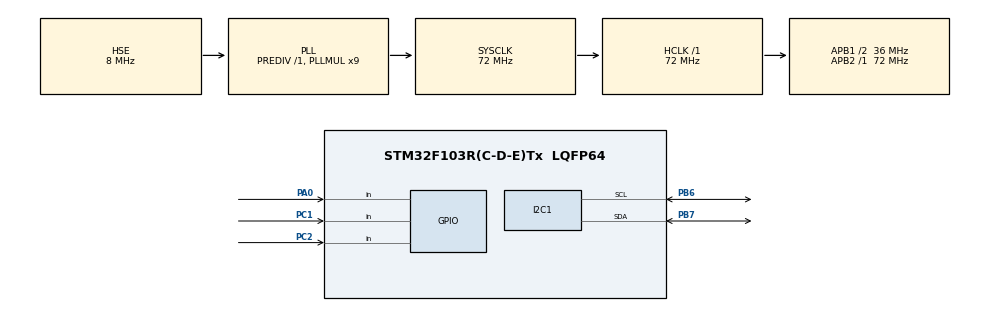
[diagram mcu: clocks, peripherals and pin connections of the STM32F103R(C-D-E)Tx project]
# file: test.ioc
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I2C1.I2C_Mode=I2C_Fast
Mcu.Family=STM32F1
Mcu.Name=STM32F103R(C-D-E)Tx
Mcu.Package=LQFP64
NVIC.PriorityGroup=NVIC_PRIORITYGROUP_4
PA0-WKUP.Signal=GPIO_Input
PA13.Mode=Serial_Wire
PA13.Signal=SYS_JTMS-SWDIO
PA14.Mode=Serial_Wire
PA14.Signal=SYS_JTCK-SWCLK
PB6.Mode=I2C
PB6.Signal=I2C1_SCL
PB7.Mode=I2C
PB7.Signal=I2C1_SDA
PC1.Signal=GPIO_Input
PC14-OSC32_IN.Mode=LSE-External-Oscillator
PC14-OSC32_IN.Signal=RCC_OSC32_IN
PC15-OSC32_OUT.Mode=LSE-External-Oscillator
PC15-OSC32_OUT.Signal=RCC_OSC32_OUT
PC2.Signal=GPIO_Input
PD0-OSC_IN.Mode=HSE-External-Oscillator
PD0-OSC_IN.Signal=RCC_OSC_IN
PD1-OSC_OUT.Mode=HSE-External-Oscillator
PD1-OSC_OUT.Signal=RCC_OSC_OUT
ProjectManager.HeapSize=0x200
ProjectManager.StackSize=0x400
ProjectManager.TargetToolchain=MDK-ARM V5.32
RCC.AHBFreq_Value=72000000
RCC.APB1CLKDivider=RCC_HCLK_DIV2
RCC.APB1Freq_Value=36000000
RCC.APB1TimFreq_Value=72000000
RCC.APB2Freq_Value=72000000
RCC.APB2TimFreq_Value=72000000
RCC.HCLKFreq_Value=72000000
RCC.PLLMUL=RCC_PLL_MUL9
RCC.PLLSourceVirtual=RCC_PLLSOURCE_HSE
RCC.SYSCLKFreq_VALUE=72000000
RCC.SYSCLKSource=RCC_SYSCLKSOURCE_PLLCLK
RCC.USBFreq_Value=72000000
VP_RTC_No_RTC_Output.Mode=RTC_OUT_NO
VP_RTC_VS_RTC_Activate.Mode=RTC_Enabled
board=custom

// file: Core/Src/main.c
/* USER CODE BEGIN Header */
/**
  ******************************************************************************
  * @file           : main.c
  * @brief          : Main program body
  ******************************************************************************
  * @attention
  *
  * Copyright (c) 2025 STMicroelectronics.
  * All rights reserved.
  *
  * This software is licensed under terms that can be found in the LICENSE file
  * in the root directory of this software component.
  * If no LICENSE file comes with this software, it is provided AS-IS.
  *
  ******************************************************************************
  */
/* USER CODE END Header */
#include "main.h"
#include "i2c.h"
#include "rtc.h"
#include "gpio.h"
/* USER CODE BEGIN Includes */
#include "oled.h"
#include "key.h"
/* USER CODE END Includes */

/* USER CODE BEGIN PV */
RTC_TimeTypeDef sTime;
RTC_DateTypeDef sDate;
/* USER CODE END PV */

void SystemClock_Config(void);

int main(void)
{
	int M=0;
  /* MCU Configuration--------------------------------------------------------*/
	uint8_t sethours=0;
	uint8_t setminutes=0;
	uint8_t setseconds=0;
  /* Reset of all peripherals, Initializes the Flash interface and the Systick. */
  HAL_Init();

  /* Configure the system clock */
  SystemClock_Config();

  /* Initialize all configured peripherals */
  MX_GPIO_Init();
  MX_I2C1_Init();
  MX_RTC_Init();
  /* USER CODE BEGIN 2 */
	sTime.Hours=10;
	sTime.Minutes=10;
	sTime.Seconds=10;
	HAL_RTC_SetTime(&hrtc,&sTime,RTC_FORMAT_BIN);
	OLED_Init();
  OLED_DisplayOn();/* USER CODE END 2 */
	HAL_RTC_SetTime(&hrtc,&sTime,1);
  /* Infinite loop */
  /* USER CODE BEGIN WHILE */
  while (1)
  {
		if(key_press(1)==1){
			M++;
		}
		switch(M){
			case 1:
					if(key_press(1)==2){
					sethours++;
				OLED_ShowNum(2,20,sethours,2);
				OLED_ShowChar6x8(12,20,':');
				OLED_ShowNum(22,20,setminutes,2);
				OLED_ShowChar6x8(32,20,':');
				OLED_ShowNum(42,20,setseconds,2);
					}
					break;
			case 2:
					if(key_press(1)==2){
						setminutes++;
				OLED_ShowNum(2,20,sethours,2);
				OLED_ShowChar6x8(12,20,':');
				OLED_ShowNum(22,20,setminutes,2);
				OLED_ShowChar6x8(32,20,':');
				OLED_ShowNum(42,20,setseconds,2);
					}
					break;
			case 3:
					if(key_press(1)==2){
						setseconds++;
				OLED_ShowNum(2,20,sethours,2);
				OLED_ShowChar6x8(12,20,':');
				OLED_ShowNum(22,20,setminutes,2);
				OLED_ShowChar6x8(32,20,':');
				OLED_ShowNum(42,20,setseconds,2);
					}
					break;
			case 4:
				M=0;
				sTime.Hours=sethours;
				sTime.Minutes=setminutes;
				sTime.Seconds=setseconds;
				HAL_RTC_SetTime(&hrtc,&sTime,RTC_FORMAT_BIN);
				break;
		}
				HAL_RTC_GetTime(&hrtc, &sTime, RTC_FORMAT_BIN); // �����ȶ�ʱ��
				HAL_RTC_GetDate(&hrtc, &sDate, RTC_FORMAT_BIN); // �ٶ�����
				OLED_ShowNum(2,5,sTime.Hours,2);
				OLED_ShowChar6x8(12,5,':');
				OLED_ShowNum(22,5,sTime.Minutes,2);
				OLED_ShowChar6x8(32,5,':');
				OLED_ShowNum(42,5,sTime.Seconds,2);

	}
   /* USER CODE END WHILE */

  }

void SystemClock_Config(void)
{
  RCC_OscInitTypeDef RCC_OscInitStruct = {0};
  RCC_ClkInitTypeDef RCC_ClkInitStruct = {0};
  RCC_PeriphCLKInitTypeDef PeriphClkInit = {0};

  /** Initializes the RCC Oscillators according to the specified parameters
  * in the RCC_OscInitTypeDef structure.
  */
  RCC_OscInitStruct.OscillatorType = RCC_OSCILLATORTYPE_LSI|RCC_OSCILLATORTYPE_HSE;
  RCC_OscInitStruct.HSEState = RCC_HSE_ON;
  RCC_OscInitStruct.HSEPredivValue = RCC_HSE_PREDIV_DIV1;
  RCC_OscInitStruct.HSIState = RCC_HSI_ON;
  RCC_OscInitStruct.LSIState = RCC_LSI_ON;
  RCC_OscInitStruct.PLL.PLLState = RCC_PLL_ON;
  RCC_OscInitStruct.PLL.PLLSource = RCC_PLLSOURCE_HSE;
  RCC_OscInitStruct.PLL.PLLMUL = RCC_PLL_MUL9;
  if (HAL_RCC_OscConfig(&RCC_OscInitStruct) != HAL_OK)
  {
    Error_Handler();
  }
  /** Initializes the CPU, AHB and APB buses clocks
  */
  RCC_ClkInitStruct.ClockType = RCC_CLOCKTYPE_HCLK|RCC_CLOCKTYPE_SYSCLK
                              |RCC_CLOCKTYPE_PCLK1|RCC_CLOCKTYPE_PCLK2;
  RCC_ClkInitStruct.SYSCLKSource = RCC_SYSCLKSOURCE_PLLCLK;
  RCC_ClkInitStruct.AHBCLKDivider = RCC_SYSCLK_DIV1;
  RCC_ClkInitStruct.APB1CLKDivider = RCC_HCLK_DIV2;
  RCC_ClkInitStruct.APB2CLKDivider = RCC_HCLK_DIV1;

  if (HAL_RCC_ClockConfig(&RCC_ClkInitStruct, FLASH_LATENCY_2) != HAL_OK)
  {
    Error_Handler();
  }
  PeriphClkInit.PeriphClockSelection = RCC_PERIPHCLK_RTC;
  PeriphClkInit.RTCClockSelection = RCC_RTCCLKSOURCE_LSI;
  if (HAL_RCCEx_PeriphCLKConfig(&PeriphClkInit) != HAL_OK)
  {
    Error_Handler();
  }
}

void Error_Handler(void)
{
  __disable_irq();
  while (1)
  {
  }
}
